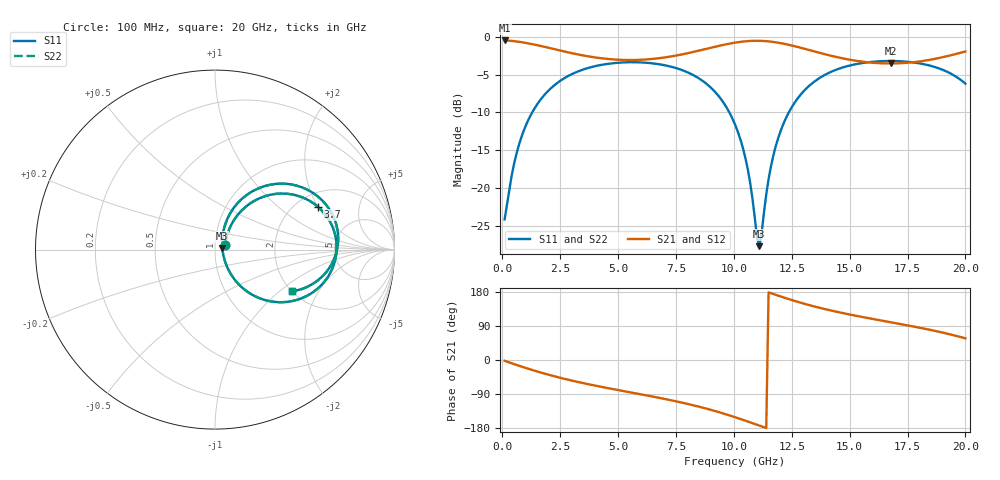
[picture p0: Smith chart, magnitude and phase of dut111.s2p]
! Touchstone file exported from HFSS 2026.1.0
!  File:  C:/ffzhzh/LocalFiles/Ansys_Project_Files/temp_train_TSV_RDL_111_1783046079_18316.aedt
!  Generated:  10:46:22 AM Jul  3, 2026
!  Design:  TSV_RDL
!  Project:  temp_train_TSV_RDL_111_1783046079_18316
! Variables:
!  h_bsmrdl = 2.36um
!  h_ox = 20um
!  h_rdl = 5um
!  h_sub = 86.45um
!  h_tmrdl = 2.5um
!  h_tsv = 86.45um
!  h_via = 3um
!  l_bsmrdl = 200.94um
!  l_sub = 4872.58um
!  l_tmrdl = 949.68um
!  m_sub = 200um
!  pitch = 57.59um
!  r_tsv = 13.53um
!  s_tmrdl = 10um
!  w_bsmrdl = 13.41um
!  w_sub = 500um
!  w_tmrdl = 10.27um
!  x_tsv_center1 = 954.815um
!  x_tsv_center2 = 1169.165um
!  x_tsv_center3 = 2129.115um
!  x_tsv_center4 = 2343.465um
!  x_tsv_center5 = 3303.415um
!  x_tsv_center6 = 3517.765um
# GHz S MA R 50.000000
! Terminal data exported
! Port[1] = TM_RDL1_1_T1
! Port[2] = TM_RDL5_1_T1
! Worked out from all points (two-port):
!   200 points, 100 MHz to 20 GHz, reference 50 ohm
!   highest |S21| = -0.51 dB at 100 MHz (marker M1); lowest = -3.5 dB at 16.8 GHz (marker M2)
!   |S21| within 3 dB of the highest: start of sweep to 16.3 GHz; 17.2 GHz to end of sweep
!   lowest |S11| = -27.6 dB at 11.1 GHz (marker M3), VSWR 1.09, Z = 54.3 + j0.711 ohm
!   |S11| at or under -10 dB: start of sweep to 1.291 GHz; 9.807 GHz to 12.37 GHz (2.567 GHz wide, 23.1 % of centre)
!   |S22| runs from -27.5 to -3.2 dB; largest |S21 - S12| = 1.5e-14
!   S11 on the Smith chart (normalised r, x): 100 MHz: 1.12, +0.06; 3.7 GHz: 2.57, +2.00; 20 GHz: 2.01, -1.23
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0.1  0.06236 23.3  0.9433 -2.2  0.9433 -2.2  0.06236 23.3
! Gamma 0 0 0 0
! Port Impedance 50 0 50 0
0.6  0.1661 56.8  0.9297 -12.7  0.9297 -12.7  0.1661 56.8
1.2  0.2978 54.1  0.898 -24.6  0.898 -24.6  0.2978 54.1
2.2  0.4713 41.4  0.83 -42.2  0.83 -42.2  0.4713 41.4
3.5  0.6074 25.0  0.7509 -61.1  0.7509 -61.1  0.6074 25.0
3.7  0.6209 22.6  0.7416 -63.7  0.7416 -63.7  0.6209 22.6
5.3  0.6766 5.1  0.7015 -82.8  0.7015 -82.8  0.6766 5.1
6.8  0.6563 -11.1  0.7214 -100.2  0.7214 -100.2  0.6563 -11.1
8.8  0.4911 -36.5  0.8298 -128.0  0.8298 -128.0  0.4911 -36.4
10.1  0.2523 -54.9  0.9151 -151.9  0.9151 -151.9  0.2524 -54.8
10.6  0.1339 -56.3  0.934 -162.3  0.934 -162.3  0.134 -56.1
11  0.0477 -22.2  0.9387 -170.8  0.9387 -170.8  0.04812 -21.9
11.1  0.04156 9.0  0.9383 -173.0  0.9383 -173.0  0.04208 9.1
11.5  0.1148 65.8  0.9303 178.4  0.9303 178.4  0.115 65.6
11.9  0.2108 67.6  0.9129 170.1  0.9129 170.1  0.2109 67.4
12.5  0.3423 60.6  0.8741 158.2  0.8741 158.2  0.3424 60.5
13.4  0.4947 47.6  0.8046 142.5  0.8046 142.5  0.4948 47.5
15.1  0.6499 26.3  0.7001 118.8  0.7001 118.8  0.65 26.2
16.7  0.691 9.4  0.6653 100.4  0.6653 100.4  0.691 9.3
16.8  0.691 8.4  0.6653 99.3  0.6653 99.3  0.691 8.3
18.5  0.642 -9.6  0.7047 79.3  0.7047 79.3  0.642 -9.7
20  0.4897 -28.3  0.7975 57.2  0.7975 57.2  0.4897 -28.4
